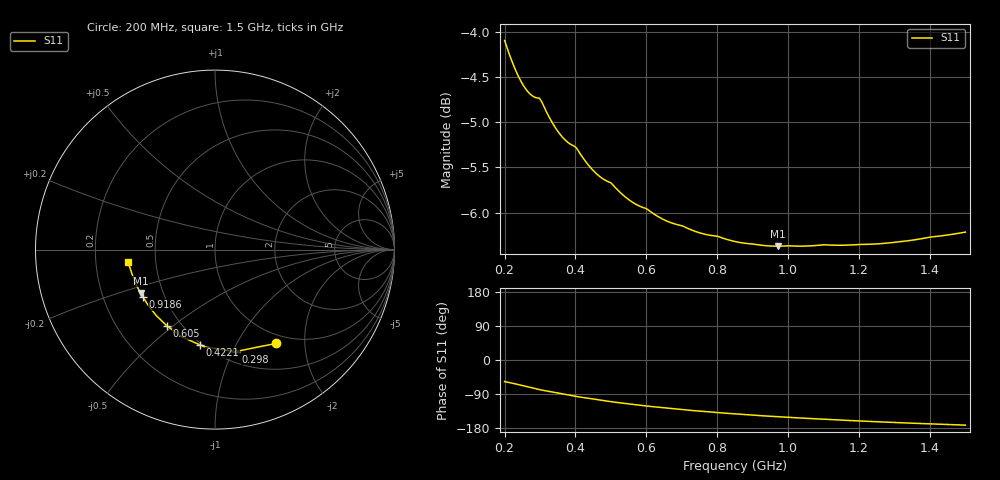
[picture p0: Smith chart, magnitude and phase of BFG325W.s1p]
#Hz S ri R 50
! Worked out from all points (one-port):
!   200 points, 200 MHz to 1.5 GHz, reference 50 ohm
!   lowest |S11| = -6.4 dB at 970.9 MHz (marker M1), VSWR 2.85, Z = 18.7 - j11.8 ohm
!   |S11| at or under -10 dB: nowhere
!   S11 on the Smith chart (normalised r, x): 200 MHz: 0.86, -1.48; 298 MHz: 0.60, -1.03; 422.1 MHz: 0.49, -0.73; 605 MHz: 0.42, -0.48; 918.6 MHz: 0.38, -0.26; 1.5 GHz: 0.34, -0.06
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2e8  0.341 -0.5231
2.26131e8  0.2825 -0.5342
2.52261e8  0.2233 -0.5459
2.78392e8  0.1637 -0.5583
2.9799e8  0.1185 -0.5679
3.04523e8  0.1063 -0.5677
3.37186e8  0.0508 -0.5588
3.63317e8  0.00591 -0.5518
4.02513e8  -0.0607 -0.5409
4.22111e8  -0.0843 -0.5304
4.61307e8  -0.1318 -0.5095
5.00503e8  -0.1796 -0.4885
5.26633e8  -0.2014 -0.473
5.65829e8  -0.2343 -0.4497
5.98492e8  -0.262 -0.4303
6.05025e8  -0.2663 -0.4266
6.8995e8  -0.3172 -0.3779
7.03015e8  -0.3246 -0.3705
8.01005e8  -0.3665 -0.3195
8.53266e8  -0.3826 -0.2945
9.18593e8  -0.4017 -0.2642
9.70854e8  -0.4145 -0.2422
1.01658e9  -0.4248 -0.2237
1.10151e9  -0.4408 -0.1923
1.1799e9  -0.4518 -0.1646
1.29749e9  -0.4657 -0.126
1.34322e9  -0.4703 -0.1125
1.5e9  -0.4839 -0.0693
